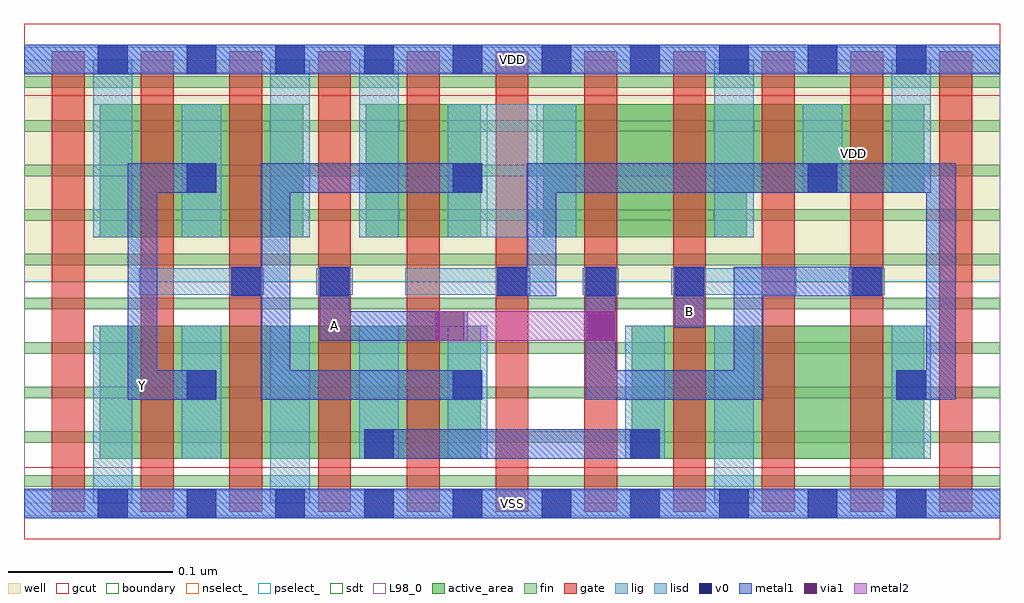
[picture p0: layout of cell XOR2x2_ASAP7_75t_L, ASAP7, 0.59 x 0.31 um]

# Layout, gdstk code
import gdstk
lib = gdstk.Library(unit=1e-6, precision=2.5e-10)
def R(c, l, rs):  # rectangles x0, y0, x1, y1
    for r in rs: c.add(gdstk.rectangle(r[:2], r[2:], *l))
def A(c, l, x, y, w, h, nx, ny, dx, dy):  # array of equal rectangles
    R(c, l, [(x+i*dx, y+j*dy, x+i*dx+w, y+j*dy+h) for i in range(nx) for j in range(ny)])
def P(c, l, *ps):  # polygons
    for p in ps: c.add(gdstk.Polygon(p, *l))
well = (1, 0)
fin = (2, 0)
gate = (7, 0)
gcut = (10, 0)
active_area = (11, 0)
nselect_ = (12, 0)
pselect_ = (13, 0)
lig = (16, 0)
lisd = (17, 0)
v0 = (18, 0)
metal1 = (19, 0)
metal2 = (20, 0)
via1 = (21, 0)
sdt = (88, 0)
L98_0 = (98, 0)
boundary = (100, 0)

xor2x2_asap7_75t_l = lib.new_cell('XOR2x2_ASAP7_75t_L')
R(xor2x2_asap7_75t_l, well, [(0,0.135,0.594,0.27)])
A(xor2x2_asap7_75t_l, fin, 0, 0.01, 0.594, 0.007, 1, 10, 0, 0.027)
A(xor2x2_asap7_75t_l, gate, 0.017, -0.005, 0.02, 0.28, 11, 1, 0.054, 0)
R(xor2x2_asap7_75t_l, gcut, [(0,-0.022,0.594,0.022), (0,0.248,0.594,0.292)])
R(xor2x2_asap7_75t_l, active_area, [(0.046,0.027,0.278,0.108), (0.37,0.027,0.548,0.108), (0.046,0.162,0.17,0.243), (0.208,0.162,0.278,0.243)])
P(xor2x2_asap7_75t_l, active_area, [(0.316,0.162),(0.316,0.243),(0.548,0.243),(0.548,0.189),(0.44,0.189),(0.44,0.162)])
R(xor2x2_asap7_75t_l, nselect_, [(0,0,0.594,0.135)])
R(xor2x2_asap7_75t_l, pselect_, [(0,0.135,0.594,0.27)])
A(xor2x2_asap7_75t_l, lig, 0.07, 0.127, 0.076, 0.016, 3, 1, 0.162, 0)
A(xor2x2_asap7_75t_l, lig, 0.178, 0.127, 0.022, 0.016, 3, 1, 0.162, 0)
R(xor2x2_asap7_75t_l, lig, [(0,-0.008,0.594,0.008), (0,0.262,0.594,0.278)])
R(xor2x2_asap7_75t_l, lisd, [(0.042,0,0.066,0.108), (0.15,0,0.174,0.108), (0.42,0,0.444,0.108), (0.096,0.027,0.12,0.108), (0.204,0.027,0.228,0.108), (0.258,0.027,0.282,0.108), (0.366,0.027,0.39,0.108), (0.528,0.027,0.552,0.108), (0.042,0.162,0.066,0.27), (0.096,0.162,0.12,0.243), (0.15,0.162,0.174,0.27), (0.204,0.162,0.228,0.27), (0.258,0.162,0.336,0.243), (0.42,0.162,0.444,0.27), (0.474,0.189,0.498,0.243), (0.528,0.189,0.552,0.27)])
A(xor2x2_asap7_75t_l, v0, 0.045, -0.009, 0.018, 0.018, 10, 2, 0.054, 0.27)
A(xor2x2_asap7_75t_l, v0, 0.288, 0.126, 0.018, 0.018, 3, 1, 0.054, 0)
R(xor2x2_asap7_75t_l, v0, [(0.207,0.027,0.225,0.045), (0.369,0.027,0.387,0.045), (0.099,0.063,0.117,0.081), (0.261,0.063,0.279,0.081), (0.531,0.063,0.549,0.081), (0.126,0.126,0.144,0.144), (0.18,0.126,0.198,0.144), (0.504,0.126,0.522,0.144), (0.099,0.189,0.117,0.207), (0.261,0.189,0.279,0.207), (0.477,0.189,0.495,0.207)])
R(xor2x2_asap7_75t_l, metal1, [(0,-0.009,0.594,0.009), (0.207,0.027,0.387,0.045), (0.396,0.107,0.414,0.144), (0,0.261,0.594,0.279)])
P(xor2x2_asap7_75t_l, metal1, [(0.342,0.063),(0.342,0.144),(0.36,0.144),(0.36,0.081),(0.432,0.081),(0.432,0.144),(0.522,0.144),(0.522,0.126),(0.45,0.126),(0.45,0.063)],
  [(0.18,0.099),(0.18,0.144),(0.198,0.144),(0.198,0.117),(0.27,0.117),(0.27,0.099)],
  [(0.531,0.063),(0.531,0.081),(0.549,0.081),(0.549,0.189),(0.324,0.189),(0.324,0.126),(0.288,0.126),(0.288,0.144),(0.306,0.144),(0.306,0.207),(0.567,0.207),(0.567,0.063)],
  [(0.144,0.063),(0.144,0.126),(0.126,0.126),(0.126,0.144),(0.144,0.144),(0.144,0.207),(0.279,0.207),(0.279,0.189),(0.162,0.189),(0.162,0.081),(0.279,0.081),(0.279,0.063)],
  [(0.063,0.063),(0.063,0.207),(0.117,0.207),(0.117,0.189),(0.081,0.189),(0.081,0.081),(0.117,0.081),(0.117,0.063)])
R(xor2x2_asap7_75t_l, metal2, [(0.25,0.099,0.36,0.117)])
R(xor2x2_asap7_75t_l, via1, [(0.25,0.099,0.268,0.117), (0.342,0.099,0.36,0.117)])
A(xor2x2_asap7_75t_l, sdt, 0.042, 0.027, 0.024, 0.081, 5, 1, 0.054, 0)
A(xor2x2_asap7_75t_l, sdt, 0.042, 0.162, 0.024, 0.081, 6, 1, 0.054, 0)
R(xor2x2_asap7_75t_l, sdt, [(0.366,0.027,0.39,0.108), (0.42,0.027,0.444,0.108), (0.528,0.027,0.552,0.108), (0.42,0.162,0.444,0.243), (0.474,0.189,0.498,0.243), (0.528,0.189,0.552,0.243)])
R(xor2x2_asap7_75t_l, L98_0, [(0,0,0.594,0.27)])
R(xor2x2_asap7_75t_l, boundary, [(0,0,0.594,0.27)])
xor2x2_asap7_75t_l.add(gdstk.Label('B', (0.405,0.117), layer=19, texttype=251))
xor2x2_asap7_75t_l.add(gdstk.Label('A', (0.189,0.108), layer=19, texttype=251))
xor2x2_asap7_75t_l.add(gdstk.Label('Y', (0.072,0.072), layer=19, texttype=251))
xor2x2_asap7_75t_l.add(gdstk.Label('VSS', (0.297,0), layer=19, texttype=251))
xor2x2_asap7_75t_l.add(gdstk.Label('VDD', (0.297,0.27), layer=19, texttype=251))
xor2x2_asap7_75t_l.add(gdstk.Label('VDD', (0.505,0.213), layer=1, texttype=251))
xor2x2_asap7_75t_l.add(gdstk.Label('VSS', (0.683,0.213), layer=3, texttype=251))

lib.write_gds('XOR2x2_ASAP7_75t_L.gds')
